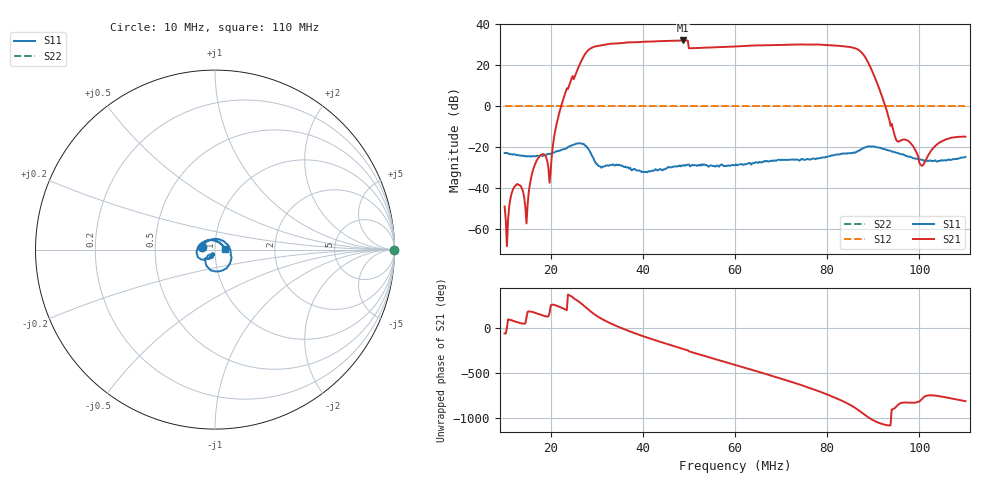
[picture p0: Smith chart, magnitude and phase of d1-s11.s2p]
! Anritsu VNA Master:  Model: MS2034B/10/19/501
! SN:  1337062
! /bd0/ovro-jan-2016/d1-s11.s2p
! Existing Calibration Information:
! TYPE:  Current Settings,  Active Cal Settings
! TIME:  01/08/2016 02:14:50 PM,  01/08/2016 02:08:01 PM
! INTERNAL TEMP:  46.5 C,  46.8 C
! # POINTS:  401,  401
! START FREQ:  10.000 MHz,  10.000 MHz
! STOP FREQ:  110.000 MHz,  110.000 MHz
! SOURCE POWER:  Low,  Low
! IFBW:  100 Hz,  100 Hz
! AVG FACTOR:  1 ,  1
! REF PLANE 1:  0 mm,  0 mm
! REF PLANE 2:  0 mm,  0 mm
! CAL TYPE:  Full S11,  Full S11
! CAL METHOD:  SOLT,  SOLT
! CAL LINE TYPE:  Coax,  Coax
! DUT PORT 1:  K-Conn(M),  K-Conn(M)
! DUT PORT 2:  N-Conn(M),  N-Conn(M)
! CAL STATUS:  OK: Accuracy High,  --
# GHZ S DB R 50.0
! FREQ.GHZ  S11DB  S11A  S21DB  S21A  S12DB  S12A  S22DB  S22A
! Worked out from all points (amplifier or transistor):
!   401 points, 10 MHz to 110 MHz, reference 50 ohm
!   highest |S21| = 32.1 dB at 48.75 MHz (marker M1)
!   |S21| within 3 dB of that: 59.59 MHz to 84.15 MHz (24.56 MHz wide, 34.2 % of centre)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
!   unconditionally stable (mu >= 1): nowhere
!   at 26.5 MHz: K = 5.75, MSG = 10.7 dB, |S12| = 0.0 dB
!   at 60 MHz: K = 14.32, MSG = 14.6 dB, |S12| = 0.0 dB
!   at 110 MHz: K = 0.10, MSG = -7.5 dB, |S12| = 0.0 dB
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0.01  -22.83 166.4  -49.06 -61.6  0.00 0.0  0.00 0.0
0.02675  -18.25 -88.2  22.59 -92.7  0.00 0.0  0.00 0.0
0.029  -24.48 -137.2  28.64 170.1  0.00 0.0  0.00 0.0
0.0315  -29.52 -115.3  29.98 89.2  0.00 0.0  0.00 0.0
0.03375  -28.81 -117.5  30.63 33.5  0.00 0.0  0.00 0.0
0.036  -29.81 -125.2  30.97 -15.2  0.00 0.0  0.00 0.0
0.03975  -32.23 -119.3  31.43 -86.5  0.00 0.0  0.00 0.0
0.0435  -31.00 -105.7  31.79 -150.5  0.00 0.0  0.00 0.0
0.04875  -29.12 -107.8  32.14 125.5  0.00 0.0  0.00 0.0
0.05475  -28.90 -116.7  28.71 27.0  0.00 0.0  0.00 0.0
0.06  -28.86 -112.3  29.15 -51.7  0.00 0.0  0.00 0.0
0.064  -27.78 -110.9  29.67 -111.6  0.00 0.0  0.00 0.0
0.06875  -26.47 -116.1  29.87 175.1  0.00 0.0  0.00 0.0
0.07325  -26.06 -118.7  30.13 102.4  0.00 0.0  0.00 0.0
0.07675  -25.71 -120.2  30.11 41.2  0.00 0.0  0.00 0.0
0.07975  -24.81 -120.9  29.93 -16.0  0.00 0.0  0.00 0.0
0.08275  -23.43 -129.0  29.45 -80.7  0.00 0.0  0.00 0.0
0.08575  -22.64 -135.9  28.56 -160.2  0.00 0.0  0.00 0.0
0.08775  -20.62 -143.3  25.55 127.3  0.00 0.0  0.00 0.0
0.0895  -19.75 -165.0  18.56 65.5  0.00 0.0  0.00 0.0
0.0935  -21.73 154.1  -6.53 -5.6  0.00 0.0  0.00 0.0
0.11  -24.80 2.6  -14.92 -95.9  0.00 0.0  0.00 0.0
